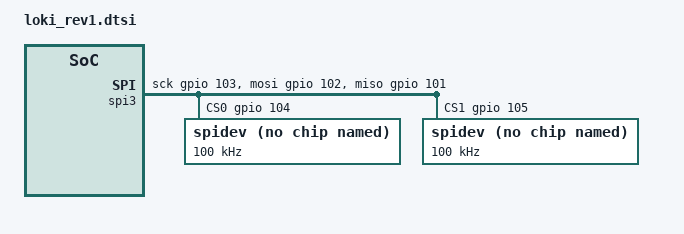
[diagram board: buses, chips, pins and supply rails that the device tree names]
&amba {
    /* Add another SPI bus, this time using the bitbang driver build into Linux */
    /* GPIO numbers are EMIO + 77 */
    spi3 { 
        compatible = "spi-gpio";
        #address-cells = <0x01>;
        #size-cells = <0x00>;
        ranges;

        miso-gpios = <&gpio 101 0>;
        mosi-gpios = <&gpio 102 0>;
        sck-gpios = <&gpio 103 0>;
        cs-gpios = <&gpio 104 0>, <&gpio 105 0>;

        num-chipselects = <2>;
        status = "ok";

        /* MAX */
        spidev@0 {
            compatible = "spidev";
            spi-max-frequency = <100000>;
            reg = <0>;
        };

        /* LTC */
        spidev@1 {
            compatible = "spidev";
            spi-max-frequency = <100000>;
            reg = <1>;
        };
    };

};
